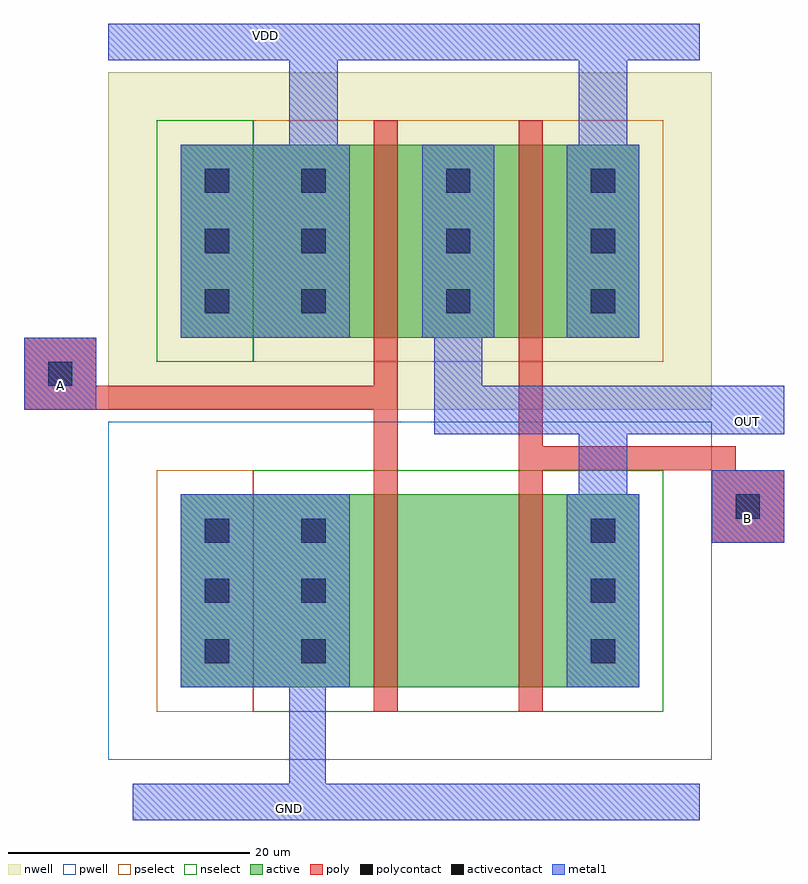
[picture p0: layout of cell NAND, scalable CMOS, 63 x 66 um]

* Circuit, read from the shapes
.subckt NAND A B GND OUT VDD
M1 n1 A GND GND nfet w=16u l=2u
M2 OUT B n1 GND nfet w=16u l=2u
M3 OUT A VDD VDD pfet w=16u l=2u
M4 VDD B OUT VDD pfet w=16u l=2u
.ends

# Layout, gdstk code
import gdstk
lib = gdstk.Library(unit=1e-6, precision=1e-09)
def R(c, l, rs):  # rectangles x0, y0, x1, y1
    for r in rs: c.add(gdstk.rectangle(r[:2], r[2:], *l))
def A(c, l, x, y, w, h, nx, ny, dx, dy):  # array of equal rectangles
    R(c, l, [(x+i*dx, y+j*dy, x+i*dx+w, y+j*dy+h) for i in range(nx) for j in range(ny)])
def P(c, l, *ps):  # polygons
    for p in ps: c.add(gdstk.Polygon(p, *l))
pwell = (41, 0)
nwell = (42, 0)
active = (43, 0)
pselect = (44, 0)
nselect = (45, 0)
poly = (46, 0)
polycontact = (47, 0)
activecontact = (48, 0)
metal1 = (49, 0)

nand = lib.new_cell('NAND')
R(nand, pwell, [(-36,-12,14,16)])
R(nand, nwell, [(-36,17,14,45)])
A(nand, active, -22, -6, 6, 16, 5, 2, 6, 29)
R(nand, active, [(-30,-6,-22,10), (-30,23,-22,39)])
R(nand, pselect, [(-32,-8,-24,12), (-24,21,10,41)])
R(nand, nselect, [(-24,-8,10,12), (-32,21,-24,41)])
P(nand, poly, [(-43,17),(-14,17),(-14,-8),(-12,-8),(-12,41),(-14,41),(-14,19),(-37,19),(-37,23),(-43,23)],
  [(-2,-8),(0,-8),(0,12),(14,12),(14,6),(20,6),(20,12),(16,12),(16,14),(0,14),(0,41),(-2,41)])
R(nand, polycontact, [(16,8,18,10), (-41,19,-39,21)])
A(nand, activecontact, -28, -4, 2, 2, 1, 3, 0, 5)
A(nand, activecontact, -20, -4, 2, 2, 1, 3, 0, 5)
A(nand, activecontact, 4, -4, 2, 2, 1, 3, 0, 5)
A(nand, activecontact, -28, 25, 2, 2, 1, 3, 0, 5)
A(nand, activecontact, -20, 25, 2, 2, 3, 3, 12, 5)
R(nand, metal1, [(14,6,20,12), (-43,17,-37,23)])
P(nand, metal1, [(-36,46),(-21,46),(-21,39),(-30,39),(-30,23),(-16,23),(-16,39),(-17,39),(-17,46),(3,46),(3,39),(2,39),(2,23),(8,23),(8,39),(7,39),(7,46),(13,46),(13,49),(-36,49)],
  [(-34,-17),(13,-17),(13,-14),(-18,-14),(-18,-6),(-16,-6),(-16,10),(-30,10),(-30,-6),(-21,-6),(-21,-14),(-34,-14)],
  [(-10,23),(-9,23),(-9,15),(3,15),(3,10),(2,10),(2,-6),(8,-6),(8,10),(7,10),(7,15),(20,15),(20,19),(-5,19),(-5,23),(-4,23),(-4,39),(-10,39)])
nand.add(gdstk.Label('OUT', (17,16), layer=2, texttype=0))
nand.add(gdstk.Label('A', (-40,19), layer=2, texttype=0))
nand.add(gdstk.Label('GND', (-21,-16), layer=2, texttype=0))
nand.add(gdstk.Label('VDD', (-23,48), layer=2, texttype=0))
nand.add(gdstk.Label('B', (17,8), layer=2, texttype=0))

lib.write_gds('NAND.gds')
